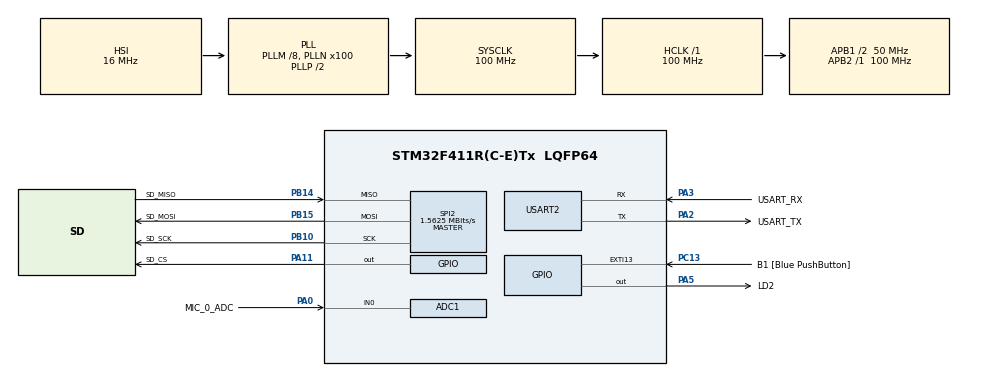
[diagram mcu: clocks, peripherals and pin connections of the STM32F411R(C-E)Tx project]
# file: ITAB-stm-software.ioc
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ADC1.Channel-0\#ChannelRegularConversion=ADC_CHANNEL_0
ADC1.ContinuousConvMode=DISABLE
ADC1.DMAContinuousRequests=ENABLE
ADC1.DataAlign=ADC_DATAALIGN_LEFT
ADC1.ExternalTrigConv=ADC_EXTERNALTRIGCONV_T2_TRGO
ADC1.NbrOfConversion=1
ADC1.NbrOfConversionFlag=1
ADC1.Rank-0\#ChannelRegularConversion=1
ADC1.SamplingTime-0\#ChannelRegularConversion=ADC_SAMPLETIME_144CYCLES
ADC1.master=1
Dma.ADC1.0.Direction=DMA_PERIPH_TO_MEMORY
Dma.ADC1.0.FIFOMode=DMA_FIFOMODE_DISABLE
Dma.ADC1.0.Instance=DMA2_Stream0
Dma.ADC1.0.MemDataAlignment=DMA_MDATAALIGN_HALFWORD
Dma.ADC1.0.MemInc=DMA_MINC_ENABLE
Dma.ADC1.0.Mode=DMA_CIRCULAR
Dma.ADC1.0.PeriphDataAlignment=DMA_PDATAALIGN_HALFWORD
Dma.ADC1.0.PeriphInc=DMA_PINC_DISABLE
Dma.ADC1.0.Priority=DMA_PRIORITY_HIGH
Dma.Request0=ADC1
Mcu.Family=STM32F4
Mcu.Name=STM32F411R(C-E)Tx
Mcu.Package=LQFP64
NVIC.DMA2_Stream0_IRQn=true\:0\:0\:false\:false\:true\:false\:true\:true
NVIC.PriorityGroup=NVIC_PRIORITYGROUP_0
PA0-WKUP.GPIO_Label=MIC_0_ADC
PA0-WKUP.Signal=ADCx_IN0
PA11.GPIO_Label=SD_CS
PA11.GPIO_PuPd=GPIO_PULLUP
PA11.PinState=GPIO_PIN_SET
PA11.Signal=GPIO_Output
PA13.GPIO_Label=TMS
PA13.Mode=Serial_Wire
PA13.Signal=SYS_JTMS-SWDIO
PA14.GPIO_Label=TCK
PA14.Mode=Serial_Wire
PA14.Signal=SYS_JTCK-SWCLK
PA2.GPIO_Label=USART_TX
PA2.Mode=Asynchronous
PA2.Signal=USART2_TX
PA3.GPIO_Label=USART_RX
PA3.Mode=Asynchronous
PA3.Signal=USART2_RX
PA5.GPIO_Label=LD2
PA5.Signal=GPIO_Output
PB10.GPIO_Label=SD_SCK
PB10.Mode=Full_Duplex_Master
PB10.Signal=SPI2_SCK
PB14.GPIO_Label=SD_MISO
PB14.Mode=Full_Duplex_Master
PB14.Signal=SPI2_MISO
PB15.GPIO_Label=SD_MOSI
PB15.Mode=Full_Duplex_Master
PB15.Signal=SPI2_MOSI
PB3.GPIO_Label=SWO
PB3.Signal=SYS_JTDO-SWO
PC13-ANTI_TAMP.GPIO_Label=B1 [Blue PushButton]
PC13-ANTI_TAMP.GPIO_ModeDefaultEXTI=GPIO_MODE_IT_FALLING
PC13-ANTI_TAMP.Signal=GPXTI13
PC14-OSC32_IN.Mode=LSE-External-Oscillator
PC14-OSC32_IN.Signal=RCC_OSC32_IN
PC15-OSC32_OUT.Mode=LSE-External-Oscillator
PC15-OSC32_OUT.Signal=RCC_OSC32_OUT
PH0\ -\ OSC_IN.Mode=HSE-External-Clock-Source
PH0\ -\ OSC_IN.Signal=RCC_OSC_IN
PH1\ -\ OSC_OUT.Mode=HSE-External-Clock-Source
PH1\ -\ OSC_OUT.Signal=RCC_OSC_OUT
ProjectManager.HeapSize=0x200
ProjectManager.StackSize=0x400
ProjectManager.TargetToolchain=STM32CubeIDE
RCC.48MHZClocksFreq_Value=50000000
RCC.AHBFreq_Value=100000000
RCC.APB1CLKDivider=RCC_HCLK_DIV2
RCC.APB1Freq_Value=50000000
RCC.APB1TimFreq_Value=100000000
RCC.APB2Freq_Value=100000000
RCC.APB2TimFreq_Value=100000000
RCC.CortexFreq_Value=100000000
RCC.FLatency-AdvancedSettings=FLASH_LATENCY_3
RCC.HCLKFreq_Value=100000000
RCC.HSE_VALUE=8000000
RCC.HSI_VALUE=16000000
RCC.PLLM=8
RCC.PLLN=100
RCC.SYSCLKFreq_VALUE=100000000
RCC.SYSCLKSource=RCC_SYSCLKSOURCE_PLLCLK
RCC.VCOOutputFreq_Value=200000000
SH.ADCx_IN0.0=ADC1_IN0,IN0
SPI2.BaudRatePrescaler=SPI_BAUDRATEPRESCALER_32
SPI2.CalculateBaudRate=1.5625 MBits/s
SPI2.Direction=SPI_DIRECTION_2LINES
SPI2.Mode=SPI_MODE_MASTER
SPI2.VirtualType=VM_MASTER
TIM2.Channel-PWM\ Generation1\ No\ Output=TIM_CHANNEL_1
TIM2.Period=2082
TIM2.TIM_MasterOutputTrigger=TIM_TRGO_UPDATE
USART2.VirtualMode=VM_ASYNC
VP_TIM2_VS_ClockSourceINT.Mode=Internal
VP_TIM2_VS_no_output1.Mode=PWM Generation1 No Output
board=NUCLEO-F411RE

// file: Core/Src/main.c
/* USER CODE BEGIN Header */
/**
 ******************************************************************************
 * @file           : main.c
 * @brief          : Main program body
 ******************************************************************************
 * @attention
 *
 * Copyright (c) 2025 STMicroelectronics.
 * All rights reserved.
 *
 * This software is licensed under terms that can be found in the LICENSE file
 * in the root directory of this software component.
 * If no LICENSE file comes with this software, it is provided AS-IS.
 *
 ******************************************************************************
 */
/* USER CODE END Header */
#include "main.h"
#include "fatfs.h"

/* USER CODE BEGIN Includes */
#include <stdio.h>
#include <string.h>
#include <stdarg.h>
#include "create_wave_data.h"
/* USER CODE END Includes */

/* USER CODE BEGIN PD */
#define ADC_BUFFER_SIZE 16384
#define RECORDING_TIME_MS 6250

#define RECORDING_TIME_SAMPLES RECORDING_TIME_MS*96
/* USER CODE END PD */

ADC_HandleTypeDef hadc1;
DMA_HandleTypeDef hdma_adc1;

SPI_HandleTypeDef hspi2;

TIM_HandleTypeDef htim2;

UART_HandleTypeDef huart2;

/* USER CODE BEGIN PV */

uint16_t adc_buffer[ADC_BUFFER_SIZE];
FIL fil; 		//Currently open file handle
unsigned int bytes_written;
unsigned int total_bytes_written = 0;

/* USER CODE END PV */

void SystemClock_Config(void);
static void MX_GPIO_Init(void);
static void MX_DMA_Init(void);
static void MX_USART2_UART_Init(void);
static void MX_ADC1_Init(void);
static void MX_TIM2_Init(void);
static void MX_SPI2_Init(void);

/* USER CODE BEGIN 0 */

void start_recording(){
	total_bytes_written = 0;
	HAL_ADC_Start_DMA(&hadc1, (uint32_t*)adc_buffer, ADC_BUFFER_SIZE);
	HAL_TIM_PWM_Start(&htim2, TIM_CHANNEL_1);
}

void stop_recording(){
	HAL_ADC_Stop_DMA(&hadc1);
	HAL_TIM_PWM_Stop(&htim2, TIM_CHANNEL_1);
}

void adjust_to_offset(uint16_t* buffer, uint32_t length){
	int16_t offset = 24824;
	for(int i = 0; i < length; i++){
		buffer[i] = buffer[i]-offset;
	}
}

void HAL_ADC_ConvHalfCpltCallback(ADC_HandleTypeDef* hadc){

	adjust_to_offset(adc_buffer, ADC_BUFFER_SIZE/2);

	if(write_data_to_pi(adc_buffer, ADC_BUFFER_SIZE/2 * sizeof(uint16_t), &bytes_written) == 1){
		total_bytes_written += bytes_written;
		bytes_written = 0;
	}else{
		stop_recording();
	}
}

void HAL_ADC_ConvCpltCallback(ADC_HandleTypeDef *hadc)
{

	adjust_to_offset(adc_buffer+ADC_BUFFER_SIZE/2, ADC_BUFFER_SIZE/2);

	if(write_data_to_pi(adc_buffer+(ADC_BUFFER_SIZE/2), ADC_BUFFER_SIZE/2 * sizeof(uint16_t), &bytes_written) == 1){
		total_bytes_written += bytes_written;
		bytes_written = 0;
	}else{
		stop_recording();
	}
}
/* USER CODE END 0 */

int main(void)
{

  /* MCU Configuration--------------------------------------------------------*/

  /* Reset of all peripherals, Initializes the Flash interface and the Systick. */
  HAL_Init();

  /* Configure the system clock */
  SystemClock_Config();

  /* Initialize all configured peripherals */
  MX_GPIO_Init();
  MX_DMA_Init();
  MX_USART2_UART_Init();
  MX_ADC1_Init();
  MX_TIM2_Init();
  MX_SPI2_Init();
  /* USER CODE BEGIN 2 */

	HAL_Delay(1000); //a short delay is important to let the SD card settle

	uint8_t uart_buffer[1];

	//some variables for FatFs
	FATFS FatFs; 	//Fatfs handle

	//Wait for mount command
	while(1){
		if(HAL_UART_Receive(&huart2, uart_buffer, 1, HAL_MAX_DELAY) == HAL_OK){
			if(uart_buffer[0] == 0xFF){
				break;
			}else{
				uart_buffer[0] = 0x03;
				HAL_UART_Transmit(&huart2, uart_buffer, 1, 1000);
			}
		}
	}

	uart_buffer[0] = 0xF1;
	HAL_UART_Transmit(&huart2, uart_buffer, 1, 1000);

  /* USER CODE END 2 */

  /* Infinite loop */
  /* USER CODE BEGIN WHILE */
	while (1)
	{

		if(HAL_UART_Receive(&huart2, uart_buffer, 1, HAL_MAX_DELAY) == HAL_OK){

			if(uart_buffer[0] == 0x7F)
				break;

			if(uart_buffer[0] & 0b10000000){
				//Good gate
				char file_name[20];
				sprintf(file_name, "G_g_%d.wav", (uart_buffer[0] & 0b01111111) + 1);

				if(!create_wave_file(file_name, &fil)){
					//Send error...
					uart_buffer[0] = 0x01;
					HAL_UART_Transmit(&huart2, uart_buffer, 1, 1000);
					demount_sd_card();
					NVIC_SystemReset();
				}

				HAL_GPIO_WritePin(LD2_GPIO_Port, LD2_Pin, GPIO_PIN_SET);
				start_recording();
				while(total_bytes_written < RECORDING_TIME_SAMPLES){}
				stop_recording();
				HAL_GPIO_WritePin(LD2_GPIO_Port, LD2_Pin, GPIO_PIN_RESET);

				if(!close_wave_file(&fil, &total_bytes_written)){
					//Send error...
					uart_buffer[0] = 0x02;
					HAL_UART_Transmit(&huart2, uart_buffer, 1, 1000);
					demount_sd_card();
					NVIC_SystemReset();
				}

				//Successful recording
				uart_buffer[0] = 0xF0;
				HAL_UART_Transmit(&huart2, uart_buffer, 1, 1000);

			}else{
				//Bad gate
				char file_name[20];
				sprintf(file_name, "B_g_%d.wav", (uart_buffer[0] & 0b01111111) + 1);

				if(!create_wave_file(file_name, &fil)){
					//Send error...
					uart_buffer[0] = 0x01;
					HAL_UART_Transmit(&huart2, uart_buffer, 1, 1000);
					demount_sd_card();
					NVIC_SystemReset();
				}

				HAL_GPIO_WritePin(LD2_GPIO_Port, LD2_Pin, GPIO_PIN_SET);
				start_recording();
				while(total_bytes_written < RECORDING_TIME_SAMPLES){}
				stop_recording();
				HAL_GPIO_WritePin(LD2_GPIO_Port, LD2_Pin, GPIO_PIN_RESET);

				if(!close_wave_file(&fil, &total_bytes_written)){
					//Send error...
					uart_buffer[0] = 0x02;
					HAL_UART_Transmit(&huart2, uart_buffer, 1, 1000);
					demount_sd_card();
					NVIC_SystemReset();
				}

				//Successful recording
				uart_buffer[0] = 0xF0;
				HAL_UART_Transmit(&huart2, uart_buffer, 1, 1000);
			}
		}

    /* USER CODE END WHILE */

    /* USER CODE BEGIN 3 */
	}

	demount_sd_card();

	uart_buffer[0] = 0xF2;
	HAL_UART_Transmit(&huart2, uart_buffer, 1, 1000);

	NVIC_SystemReset();

  /* USER CODE END 3 */
}

void SystemClock_Config(void)
{
  RCC_OscInitTypeDef RCC_OscInitStruct = {0};
  RCC_ClkInitTypeDef RCC_ClkInitStruct = {0};

  /** Configure the main internal regulator output voltage
  */
  __HAL_RCC_PWR_CLK_ENABLE();
  __HAL_PWR_VOLTAGESCALING_CONFIG(PWR_REGULATOR_VOLTAGE_SCALE1);

  /** Initializes the RCC Oscillators according to the specified parameters
  * in the RCC_OscInitTypeDef structure.
  */
  RCC_OscInitStruct.OscillatorType = RCC_OSCILLATORTYPE_HSI;
  RCC_OscInitStruct.HSIState = RCC_HSI_ON;
  RCC_OscInitStruct.HSICalibrationValue = RCC_HSICALIBRATION_DEFAULT;
  RCC_OscInitStruct.PLL.PLLState = RCC_PLL_ON;
  RCC_OscInitStruct.PLL.PLLSource = RCC_PLLSOURCE_HSI;
  RCC_OscInitStruct.PLL.PLLM = 8;
  RCC_OscInitStruct.PLL.PLLN = 100;
  RCC_OscInitStruct.PLL.PLLP = RCC_PLLP_DIV2;
  RCC_OscInitStruct.PLL.PLLQ = 4;
  if (HAL_RCC_OscConfig(&RCC_OscInitStruct) != HAL_OK)
  {
    Error_Handler();
  }

  /** Initializes the CPU, AHB and APB buses clocks
  */
  RCC_ClkInitStruct.ClockType = RCC_CLOCKTYPE_HCLK|RCC_CLOCKTYPE_SYSCLK
                              |RCC_CLOCKTYPE_PCLK1|RCC_CLOCKTYPE_PCLK2;
  RCC_ClkInitStruct.SYSCLKSource = RCC_SYSCLKSOURCE_PLLCLK;
  RCC_ClkInitStruct.AHBCLKDivider = RCC_SYSCLK_DIV1;
  RCC_ClkInitStruct.APB1CLKDivider = RCC_HCLK_DIV2;
  RCC_ClkInitStruct.APB2CLKDivider = RCC_HCLK_DIV1;

  if (HAL_RCC_ClockConfig(&RCC_ClkInitStruct, FLASH_LATENCY_3) != HAL_OK)
  {
    Error_Handler();
  }
}

static void MX_ADC1_Init(void)
{

  ADC_ChannelConfTypeDef sConfig = {0};

  /** Configure the global features of the ADC (Clock, Resolution, Data Alignment and number of conversion)
  */
  hadc1.Instance = ADC1;
  hadc1.Init.ClockPrescaler = ADC_CLOCK_SYNC_PCLK_DIV4;
  hadc1.Init.Resolution = ADC_RESOLUTION_12B;
  hadc1.Init.ScanConvMode = DISABLE;
  hadc1.Init.ContinuousConvMode = DISABLE;
  hadc1.Init.DiscontinuousConvMode = DISABLE;
  hadc1.Init.ExternalTrigConvEdge = ADC_EXTERNALTRIGCONVEDGE_RISING;
  hadc1.Init.ExternalTrigConv = ADC_EXTERNALTRIGCONV_T2_TRGO;
  hadc1.Init.DataAlign = ADC_DATAALIGN_LEFT;
  hadc1.Init.NbrOfConversion = 1;
  hadc1.Init.DMAContinuousRequests = ENABLE;
  hadc1.Init.EOCSelection = ADC_EOC_SINGLE_CONV;
  if (HAL_ADC_Init(&hadc1) != HAL_OK)
  {
    Error_Handler();
  }

  /** Configure for the selected ADC regular channel its corresponding rank in the sequencer and its sample time.
  */
  sConfig.Channel = ADC_CHANNEL_0;
  sConfig.Rank = 1;
  sConfig.SamplingTime = ADC_SAMPLETIME_144CYCLES;
  if (HAL_ADC_ConfigChannel(&hadc1, &sConfig) != HAL_OK)
  {
    Error_Handler();
  }

}

static void MX_SPI2_Init(void)
{

  /* SPI2 parameter configuration*/
  hspi2.Instance = SPI2;
  hspi2.Init.Mode = SPI_MODE_MASTER;
  hspi2.Init.Direction = SPI_DIRECTION_2LINES;
  hspi2.Init.DataSize = SPI_DATASIZE_8BIT;
  hspi2.Init.CLKPolarity = SPI_POLARITY_LOW;
  hspi2.Init.CLKPhase = SPI_PHASE_1EDGE;
  hspi2.Init.NSS = SPI_NSS_SOFT;
  hspi2.Init.BaudRatePrescaler = SPI_BAUDRATEPRESCALER_32;
  hspi2.Init.FirstBit = SPI_FIRSTBIT_MSB;
  hspi2.Init.TIMode = SPI_TIMODE_DISABLE;
  hspi2.Init.CRCCalculation = SPI_CRCCALCULATION_DISABLE;
  hspi2.Init.CRCPolynomial = 10;
  if (HAL_SPI_Init(&hspi2) != HAL_OK)
  {
    Error_Handler();
  }

}

static void MX_TIM2_Init(void)
{

  TIM_ClockConfigTypeDef sClockSourceConfig = {0};
  TIM_MasterConfigTypeDef sMasterConfig = {0};
  TIM_OC_InitTypeDef sConfigOC = {0};

  htim2.Instance = TIM2;
  htim2.Init.Prescaler = 0;
  htim2.Init.CounterMode = TIM_COUNTERMODE_UP;
  htim2.Init.Period = 2082;
  htim2.Init.ClockDivision = TIM_CLOCKDIVISION_DIV1;
  htim2.Init.AutoReloadPreload = TIM_AUTORELOAD_PRELOAD_DISABLE;
  if (HAL_TIM_Base_Init(&htim2) != HAL_OK)
  {
    Error_Handler();
  }
  sClockSourceConfig.ClockSource = TIM_CLOCKSOURCE_INTERNAL;
  if (HAL_TIM_ConfigClockSource(&htim2, &sClockSourceConfig) != HAL_OK)
  {
    Error_Handler();
  }
  if (HAL_TIM_PWM_Init(&htim2) != HAL_OK)
  {
    Error_Handler();
  }
  sMasterConfig.MasterOutputTrigger = TIM_TRGO_UPDATE;
  sMasterConfig.MasterSlaveMode = TIM_MASTERSLAVEMODE_DISABLE;
  if (HAL_TIMEx_MasterConfigSynchronization(&htim2, &sMasterConfig) != HAL_OK)
  {
    Error_Handler();
  }
  sConfigOC.OCMode = TIM_OCMODE_PWM1;
  sConfigOC.Pulse = 0;
  sConfigOC.OCPolarity = TIM_OCPOLARITY_HIGH;
  sConfigOC.OCFastMode = TIM_OCFAST_DISABLE;
  if (HAL_TIM_PWM_ConfigChannel(&htim2, &sConfigOC, TIM_CHANNEL_1) != HAL_OK)
  {
    Error_Handler();
  }

}

static void MX_USART2_UART_Init(void)
{

  huart2.Instance = USART2;
  huart2.Init.BaudRate = 115200;
  huart2.Init.WordLength = UART_WORDLENGTH_8B;
  huart2.Init.StopBits = UART_STOPBITS_1;
  huart2.Init.Parity = UART_PARITY_NONE;
  huart2.Init.Mode = UART_MODE_TX_RX;
  huart2.Init.HwFlowCtl = UART_HWCONTROL_NONE;
  huart2.Init.OverSampling = UART_OVERSAMPLING_16;
  if (HAL_UART_Init(&huart2) != HAL_OK)
  {
    Error_Handler();
  }

}

static void MX_DMA_Init(void)
{

  /* DMA controller clock enable */
  __HAL_RCC_DMA2_CLK_ENABLE();

  /* DMA interrupt init */
  /* DMA2_Stream0_IRQn interrupt configuration */
  HAL_NVIC_SetPriority(DMA2_Stream0_IRQn, 0, 0);
  HAL_NVIC_EnableIRQ(DMA2_Stream0_IRQn);

}

static void MX_GPIO_Init(void)
{
  GPIO_InitTypeDef GPIO_InitStruct = {0};

  /* GPIO Ports Clock Enable */
  __HAL_RCC_GPIOC_CLK_ENABLE();
  __HAL_RCC_GPIOH_CLK_ENABLE();
  __HAL_RCC_GPIOA_CLK_ENABLE();
  __HAL_RCC_GPIOB_CLK_ENABLE();

  /*Configure GPIO pin Output Level */
  HAL_GPIO_WritePin(LD2_GPIO_Port, LD2_Pin, GPIO_PIN_RESET);

  /*Configure GPIO pin Output Level */
  HAL_GPIO_WritePin(SD_CS_GPIO_Port, SD_CS_Pin, GPIO_PIN_SET);

  /*Configure GPIO pin : B1_Pin */
  GPIO_InitStruct.Pin = B1_Pin;
  GPIO_InitStruct.Mode = GPIO_MODE_IT_FALLING;
  GPIO_InitStruct.Pull = GPIO_NOPULL;
  HAL_GPIO_Init(B1_GPIO_Port, &GPIO_InitStruct);

  /*Configure GPIO pin : LD2_Pin */
  GPIO_InitStruct.Pin = LD2_Pin;
  GPIO_InitStruct.Mode = GPIO_MODE_OUTPUT_PP;
  GPIO_InitStruct.Pull = GPIO_NOPULL;
  GPIO_InitStruct.Speed = GPIO_SPEED_FREQ_LOW;
  HAL_GPIO_Init(LD2_GPIO_Port, &GPIO_InitStruct);

  /*Configure GPIO pin : SD_CS_Pin */
  GPIO_InitStruct.Pin = SD_CS_Pin;
  GPIO_InitStruct.Mode = GPIO_MODE_OUTPUT_PP;
  GPIO_InitStruct.Pull = GPIO_PULLUP;
  GPIO_InitStruct.Speed = GPIO_SPEED_FREQ_LOW;
  HAL_GPIO_Init(SD_CS_GPIO_Port, &GPIO_InitStruct);

}

void Error_Handler(void)
{
	__disable_irq();
	while (1)
	{
	}
}
